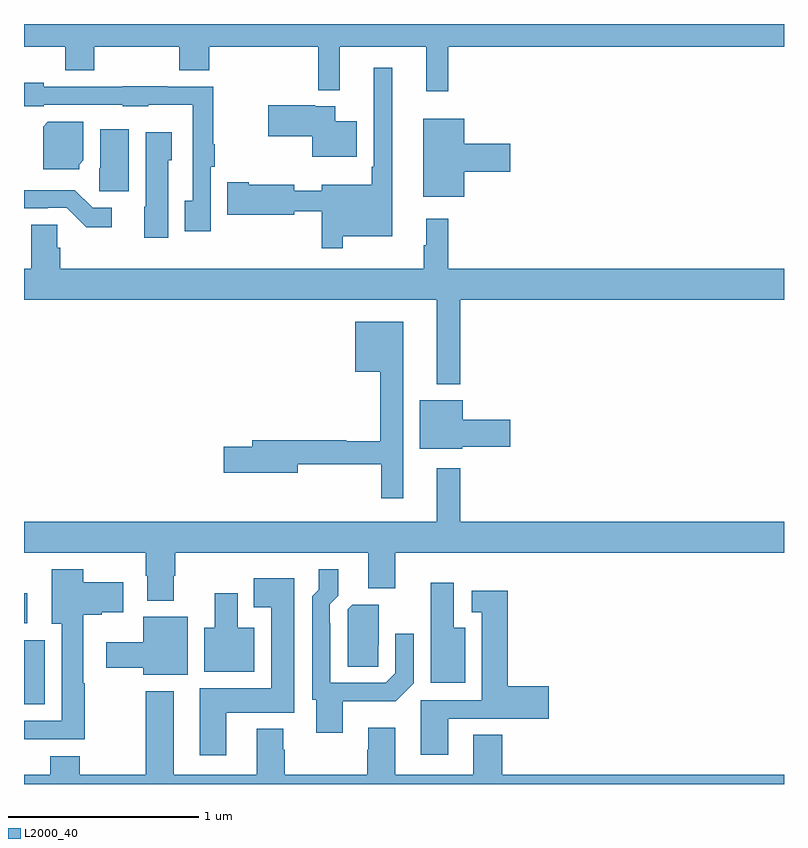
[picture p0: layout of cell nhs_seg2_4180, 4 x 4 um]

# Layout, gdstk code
import gdstk
lib = gdstk.Library(unit=1e-6, precision=1e-09)
def R(c, l, rs):  # rectangles x0, y0, x1, y1
    for r in rs: c.add(gdstk.rectangle(r[:2], r[2:], *l))
def P(c, l, *ps):  # polygons
    for p in ps: c.add(gdstk.Polygon(p, *l))
L2000_40 = (2000, 40)

nhs_seg2_4180 = lib.new_cell('nhs_seg2_4180')
R(nhs_seg2_4180, L2000_40, [(337,600.221,337.108,600.556), (337,600.645,337.018,600.805)])
P(nhs_seg2_4180, L2000_40, [(339.233,603.68),(341,603.68),(341,603.8),(337,603.8),(337,603.68),(337.216,603.68),(337.216,603.556),(337.371,603.556),(337.371,603.68),(337.816,603.68),(337.816,603.556),(337.976,603.556),(337.976,603.68),(338.549,603.68),(338.549,603.452),(338.663,603.452),(338.663,603.68),(339.116,603.68),(339.116,603.447),(339.233,603.447)],
  [(338.677,602.684),(338.938,602.684),(338.938,603.571),(338.841,603.571),(338.841,603.049),(338.829,603.049),(338.829,602.953),(338.567,602.953),(338.567,602.923),(338.422,602.923),(338.422,602.953),(338.182,602.953),(338.182,602.966),(338.07,602.966),(338.07,602.795),(338.422,602.795),(338.422,602.814),(338.567,602.814),(338.567,602.619),(338.677,602.619)],
  [(337.983,603.049),(338.003,603.049),(338.003,603.168),(337.996,603.168),(337.996,603.471),(337.753,603.471),(337.753,603.473),(337.521,603.473),(337.521,603.471),(337.104,603.471),(337.104,603.49),(337,603.49),(337,603.368),(337.104,603.368),(337.104,603.375),(337.521,603.375),(337.521,603.368),(337.653,603.368),(337.653,603.374),(337.887,603.374),(337.887,602.87),(337.847,602.87),(337.847,602.709),(337.983,602.709)],
  [(338.752,603.289),(338.638,603.289),(338.638,603.367),(338.534,603.367),(338.534,603.372),(338.286,603.372),(338.286,603.209),(338.516,603.209),(338.516,603.101),(338.752,603.101)],
  [(339.316,603.023),(339.559,603.023),(339.559,603.17),(339.316,603.17),(339.316,603.301),(339.101,603.301),(339.101,602.891),(339.316,602.891)],
  [(337.29,603.06),(337.312,603.082),(337.312,603.286),(337.126,603.286),(337.1,603.26),(337.1,603.035),(337.29,603.035)],
  [(337.552,603.247),(337.4,603.247),(337.4,603.042),(337.396,603.042),(337.396,602.919),(337.552,602.919)],
  [(337.759,603.084),(337.777,603.084),(337.777,603.229),(337.64,603.229),(337.64,602.838),(337.634,602.838),(337.634,602.676),(337.759,602.676)],
  [(337.462,602.832),(337.362,602.832),(337.268,602.926),(337,602.926),(337,602.829),(337.124,602.829),(337.124,602.832),(337.224,602.832),(337.327,602.73),(337.462,602.73)],
  [(339.173,601.904),(339.295,601.904),(339.295,602.348),(341,602.348),(341,602.512),(339.233,602.512),(339.233,602.776),(339.116,602.776),(339.116,602.636),(339.105,602.636),(339.105,602.512),(337.19,602.512),(337.19,602.622),(337.176,602.622),(337.176,602.744),(337.037,602.744),(337.037,602.512),(337,602.512),(337,602.348),(339.173,602.348)],
  [(338.995,602.233),(338.744,602.233),(338.744,601.97),(338.874,601.97),(338.874,601.603),(338.695,601.603),(338.695,601.61),(338.201,601.61),(338.201,601.574),(338.052,601.574),(338.052,601.439),(338.44,601.439),(338.44,601.482),(338.881,601.482),(338.881,601.305),(338.995,601.305)],
  [(339.306,601.576),(339.559,601.576),(339.559,601.718),(339.31,601.718),(339.31,601.819),(339.083,601.819),(339.083,601.565),(339.306,601.565)],
  [(339.173,601.462),(339.173,601.18),(337,601.18),(337,601.016),(337.642,601.016),(337.642,600.896),(337.649,600.896),(337.649,600.764),(337.789,600.764),(337.789,600.896),(337.797,600.896),(337.797,601.016),(338.813,601.016),(338.813,600.829),(338.953,600.829),(338.953,601.016),(341,601.016),(341,601.18),(339.295,601.18),(339.295,601.462)],
  [(338.677,600.236),(338.957,600.236),(339.051,600.33),(339.051,600.592),(338.955,600.592),(338.955,600.384),(338.904,600.333),(338.613,600.333),(338.613,600.647),(338.61,600.647),(338.61,600.747),(338.653,600.79),(338.653,600.931),(338.552,600.931),(338.552,600.822),(338.517,600.787),(338.517,600.243),(338.537,600.243),(338.537,600.069),(338.677,600.069)],
  [(337.32,600.329),(337.312,600.329),(337.312,600.692),(337.409,600.692),(337.409,600.704),(337.522,600.704),(337.522,600.862),(337.312,600.862),(337.312,600.931),(337.145,600.931),(337.145,600.644),(337.199,600.644),(337.199,600.132),(337,600.132),(337,600.035),(337.32,600.035)],
  [(338.065,600.176),(338.422,600.176),(338.422,600.883),(338.21,600.883),(338.21,600.731),(338.3,600.731),(338.3,600.304),(337.925,600.304),(337.925,599.952),(338.065,599.952)],
  [(339.322,600.622),(339.262,600.622),(339.262,600.859),(339.14,600.859),(339.14,600.332),(339.322,600.332)],
  [(339.232,600.144),(339.501,600.144),(339.501,600.143),(339.763,600.143),(339.763,600.314),(339.545,600.314),(339.545,600.817),(339.357,600.817),(339.357,600.704),(339.41,600.704),(339.41,600.24),(339.089,600.24),(339.089,599.955),(339.232,599.955)],
  [(338.212,600.622),(338.125,600.622),(338.125,600.805),(338.003,600.805),(338.003,600.622),(337.949,600.622),(337.949,600.392),(338.212,600.392)],
  [(338.865,600.529),(338.866,600.529),(338.866,600.744),(338.727,600.744),(338.703,600.72),(338.703,600.418),(338.865,600.418)],
  [(337.861,600.679),(337.628,600.679),(337.628,600.547),(337.434,600.547),(337.434,600.413),(337.628,600.413),(337.628,600.374),(337.861,600.374)],
  [(341,599.848),(339.518,599.848),(339.518,600.058),(339.365,600.058),(339.365,599.848),(338.953,599.848),(338.953,600.097),(338.813,600.097),(338.813,599.981),(338.806,599.981),(338.806,599.848),(338.373,599.848),(338.373,599.981),(338.365,599.981),(338.365,600.091),(338.225,600.091),(338.225,599.848),(337.789,599.848),(337.789,600.289),(337.642,600.289),(337.642,599.848),(337.293,599.848),(337.293,599.947),(337.138,599.947),(337.138,599.848),(337,599.848),(337,599.8),(341,599.8)])

lib.write_gds('nhs_seg2_4180.gds')
